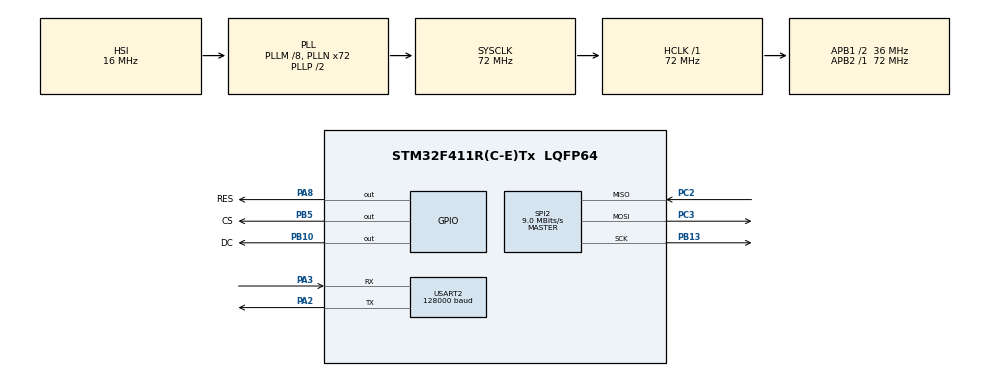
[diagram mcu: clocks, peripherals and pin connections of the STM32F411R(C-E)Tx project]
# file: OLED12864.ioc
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Mcu.Family=STM32F4
Mcu.Name=STM32F411R(C-E)Tx
Mcu.Package=LQFP64
NVIC.PriorityGroup=NVIC_PRIORITYGROUP_4
NVIC.SPI2_IRQn=true\:0\:0\:false\:false\:true\:true\:true
NVIC.USART2_IRQn=true\:0\:0\:false\:false\:true\:true\:true
PA2.Mode=Asynchronous
PA2.Signal=USART2_TX
PA3.Mode=Asynchronous
PA3.Signal=USART2_RX
PA8.GPIO_Label=RES
PA8.GPIO_ModeDefaultOutputPP=GPIO_MODE_OUTPUT_PP
PA8.GPIO_PuPd=GPIO_NOPULL
PA8.GPIO_Speed=GPIO_SPEED_FREQ_LOW
PA8.PinState=GPIO_PIN_RESET
PA8.Signal=GPIO_Output
PB10.GPIO_Label=DC
PB10.GPIO_ModeDefaultOutputPP=GPIO_MODE_OUTPUT_PP
PB10.GPIO_PuPd=GPIO_NOPULL
PB10.GPIO_Speed=GPIO_SPEED_FREQ_LOW
PB10.PinState=GPIO_PIN_RESET
PB10.Signal=GPIO_Output
PB13.Mode=Full_Duplex_Master
PB13.Signal=SPI2_SCK
PB5.GPIO_Label=CS
PB5.GPIO_ModeDefaultOutputPP=GPIO_MODE_OUTPUT_PP
PB5.GPIO_PuPd=GPIO_NOPULL
PB5.GPIO_Speed=GPIO_SPEED_FREQ_LOW
PB5.PinState=GPIO_PIN_RESET
PB5.Signal=GPIO_Output
PC2.Mode=Full_Duplex_Master
PC2.Signal=SPI2_MISO
PC3.Mode=Full_Duplex_Master
PC3.Signal=SPI2_MOSI
PH0\ -\ OSC_IN.Mode=HSE-External-Oscillator
PH0\ -\ OSC_IN.Signal=RCC_OSC_IN
PH1\ -\ OSC_OUT.Mode=HSE-External-Oscillator
PH1\ -\ OSC_OUT.Signal=RCC_OSC_OUT
ProjectManager.HeapSize=0x200
ProjectManager.StackSize=0x400
ProjectManager.TargetToolchain=MDK-ARM V5.27
RCC.48MHZClocksFreq_Value=36000000
RCC.AHBFreq_Value=72000000
RCC.APB1CLKDivider=RCC_HCLK_DIV2
RCC.APB1Freq_Value=36000000
RCC.APB1TimFreq_Value=72000000
RCC.APB2Freq_Value=72000000
RCC.APB2TimFreq_Value=72000000
RCC.CortexFreq_Value=72000000
RCC.HCLKFreq_Value=72000000
RCC.HSE_VALUE=25000000
RCC.HSI_VALUE=16000000
RCC.LSE_VALUE=32768
RCC.PLLM=8
RCC.PLLN=72
RCC.SYSCLKFreq_VALUE=72000000
RCC.SYSCLKSource=RCC_SYSCLKSOURCE_PLLCLK
RCC.VCOOutputFreq_Value=144000000
SPI2.BaudRatePrescaler=SPI_BAUDRATEPRESCALER_4
SPI2.CLKPhase=SPI_PHASE_2EDGE
SPI2.CLKPolarity=SPI_POLARITY_HIGH
SPI2.CalculateBaudRate=9.0 MBits/s
SPI2.Direction=SPI_DIRECTION_2LINES
SPI2.Mode=SPI_MODE_MASTER
SPI2.VirtualType=VM_MASTER
USART2.BaudRate=128000
USART2.VirtualMode=VM_ASYNC
board=custom

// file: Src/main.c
/* USER CODE BEGIN Header */
/**
  ******************************************************************************
  * @file           : main.c
  * @brief          : Main program body
  ******************************************************************************
  * @attention
  *
  * <h2><center>&copy; Copyright (c) 2021 STMicroelectronics.
  * All rights reserved.</center></h2>
  *
  * This software component is licensed by ST under BSD 3-Clause license,
  * the "License"; You may not use this file except in compliance with the
  * License. You may obtain a copy of the License at:
  *                        opensource.org/licenses/BSD-3-Clause
  *
  ******************************************************************************
  */
/* USER CODE END Header */

#include "main.h"
#include "spi.h"
#include "usart.h"
#include "gpio.h"

/* USER CODE BEGIN Includes */
#include "stdio.h"
#include "oled.h"
#include "bmp.h"
/* USER CODE END Includes */

/* USER CODE BEGIN PD */
#define LENGTH 1024
/* USER CODE END PD */

/* USER CODE BEGIN PV */
	uint8_t	RxBuffer[LENGTH];
	uint8_t RxFlag=0;//0表示接收未完成，1表示接收完成
/* USER CODE END PV */

void SystemClock_Config(void);

int main(void)
{

  /* MCU Configuration--------------------------------------------------------*/

  /* Reset of all peripherals, Initializes the Flash interface and the Systick. */
  HAL_Init();

  /* Configure the system clock */
  SystemClock_Config();

  /* Initialize all configured peripherals */
  MX_GPIO_Init();
  MX_SPI2_Init();
  MX_USART2_UART_Init();
  /* USER CODE BEGIN 2 */
	OLED_Init();			//初始化OLED
	OLED_Clear();
	printf("UART Opened!");
	HAL_UART_Receive_IT(&huart2,(uint8_t*)RxBuffer,LENGTH);//使能接收中断
	/*OLED_DrawBMP(0,0,128,8,BMP[0]);*/
  /* USER CODE END 2 */

  /* Infinite loop */
  /* USER CODE BEGIN WHILE */

  while (1)
  {
			if(RxFlag==1)
			{
				RxFlag=0;
				OLED_DrawBMP(0,0,128,8,RxBuffer);
			}
		}
    /* USER CODE END WHILE */

}

void SystemClock_Config(void)
{
  RCC_OscInitTypeDef RCC_OscInitStruct = {0};
  RCC_ClkInitTypeDef RCC_ClkInitStruct = {0};

  /** Configure the main internal regulator output voltage
  */
  __HAL_RCC_PWR_CLK_ENABLE();
  __HAL_PWR_VOLTAGESCALING_CONFIG(PWR_REGULATOR_VOLTAGE_SCALE1);
  /** Initializes the CPU, AHB and APB busses clocks
  */
  RCC_OscInitStruct.OscillatorType = RCC_OSCILLATORTYPE_HSI;
  RCC_OscInitStruct.HSIState = RCC_HSI_ON;
  RCC_OscInitStruct.HSICalibrationValue = RCC_HSICALIBRATION_DEFAULT;
  RCC_OscInitStruct.PLL.PLLState = RCC_PLL_ON;
  RCC_OscInitStruct.PLL.PLLSource = RCC_PLLSOURCE_HSI;
  RCC_OscInitStruct.PLL.PLLM = 8;
  RCC_OscInitStruct.PLL.PLLN = 72;
  RCC_OscInitStruct.PLL.PLLP = RCC_PLLP_DIV2;
  RCC_OscInitStruct.PLL.PLLQ = 4;
  if (HAL_RCC_OscConfig(&RCC_OscInitStruct) != HAL_OK)
  {
    Error_Handler();
  }
  /** Initializes the CPU, AHB and APB busses clocks
  */
  RCC_ClkInitStruct.ClockType = RCC_CLOCKTYPE_HCLK|RCC_CLOCKTYPE_SYSCLK
                              |RCC_CLOCKTYPE_PCLK1|RCC_CLOCKTYPE_PCLK2;
  RCC_ClkInitStruct.SYSCLKSource = RCC_SYSCLKSOURCE_PLLCLK;
  RCC_ClkInitStruct.AHBCLKDivider = RCC_SYSCLK_DIV1;
  RCC_ClkInitStruct.APB1CLKDivider = RCC_HCLK_DIV2;
  RCC_ClkInitStruct.APB2CLKDivider = RCC_HCLK_DIV1;

  if (HAL_RCC_ClockConfig(&RCC_ClkInitStruct, FLASH_LATENCY_2) != HAL_OK)
  {
    Error_Handler();
  }
}

/* USER CODE BEGIN 4 */
	void HAL_UART_RxCpltCallback(UART_HandleTypeDef *huart)//回调
	{
		if(huart ->Instance == USART2)
		{
			RxFlag = 1;
			HAL_UART_Receive_IT(&huart2,(uint8_t*)RxBuffer,LENGTH);
		}
	}
	int fputc(int ch,FILE *f)//printf重定向
	{
		HAL_UART_Transmit(&huart2,(uint8_t*)&ch,1,HAL_MAX_DELAY);
		return ch;
	}
/* USER CODE END 4 */

void Error_Handler(void)
{
}

/************************ (C) COPYRIGHT STMicroelectronics *****END OF FILE****/
